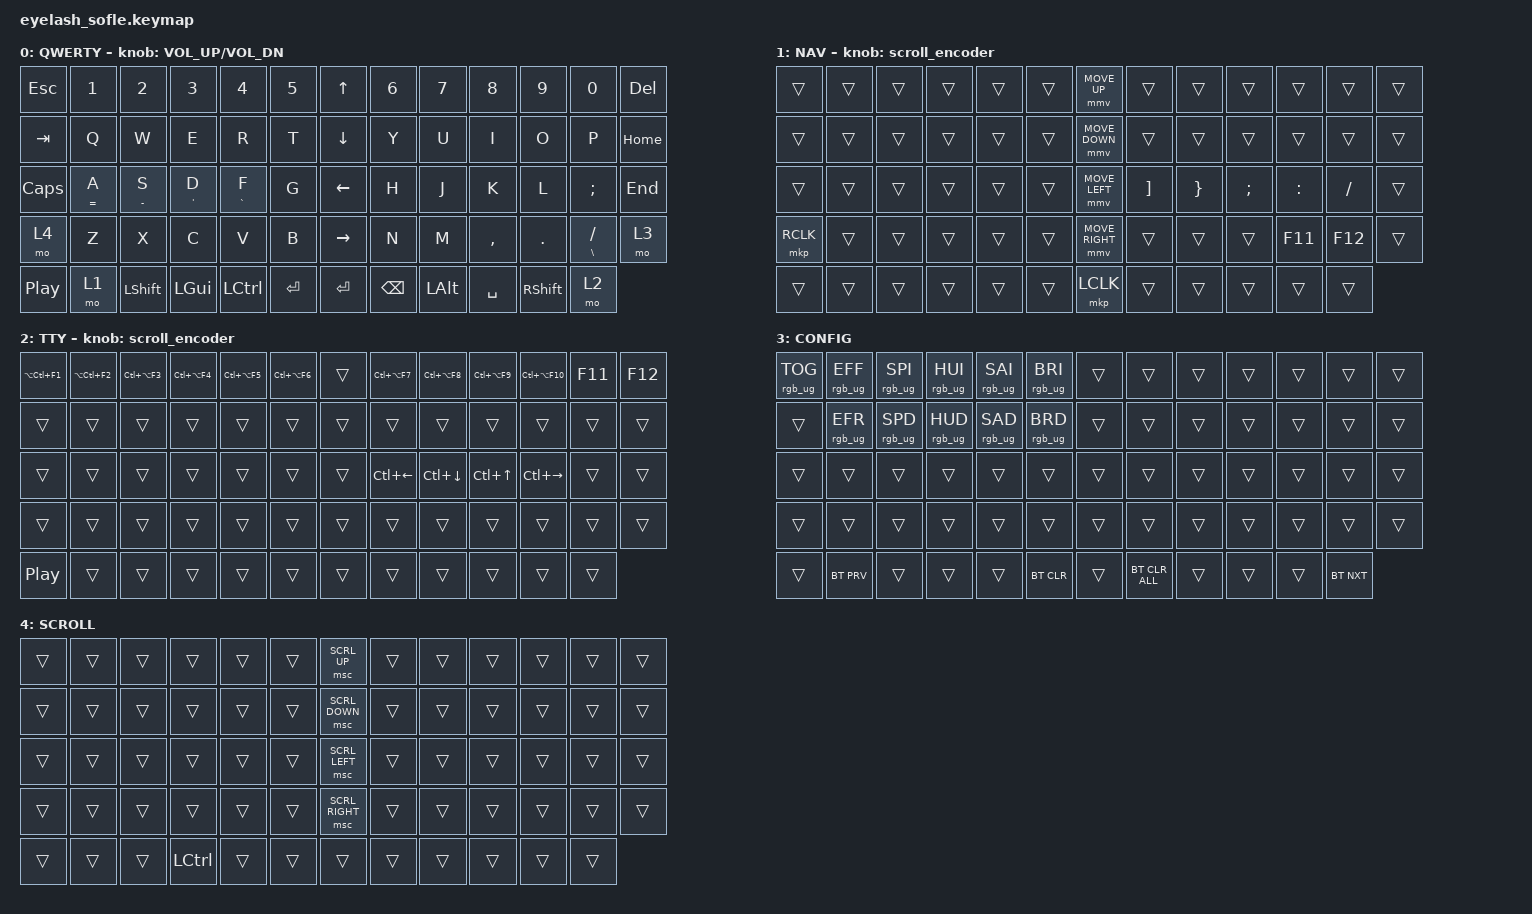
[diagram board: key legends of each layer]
#define ZMK_POINTING_DEFAULT_MOVE_VAL 1200  // 600
#define ZMK_POINTING_DEFAULT_SCRL_VAL 25   // 10

#include <input/processors.dtsi>
#include <zephyr/dt-bindings/input/input-event-codes.h>
#include <behaviors.dtsi>
#include <dt-bindings/zmk/bt.h>
#include <dt-bindings/zmk/keys.h>
#include <dt-bindings/zmk/pointing.h>
#include <dt-bindings/zmk/rgb.h>

&mmv_input_listener { input-processors = <&zip_xy_scaler 2 1>; };

&msc_input_listener { input-processors = <&zip_scroll_scaler 2 1>; };

&msc {
    acceleration-exponent = <1>;      // 0
    time-to-max-speed-ms = <100>;       // 300
    delay-ms = <0>;                   // 0
};

&mmv {
    time-to-max-speed-ms = <500>;
    acceleration-exponent = <1>;
    trigger-period-ms = <16>;
};

/ {
    scroll_encoder: scroll_encoder {
        compatible = "zmk,behavior-sensor-rotate";
        #sensor-binding-cells = <0>;
        bindings = <&msc SCRL_DOWN>, <&msc SCRL_UP>;

        tap-ms = <100>;
    };

    hm: homerow_mods {
        compatible = "zmk,behavior-hold-tap";
        label = "HOMEROW_MODS";
        bindings = <&kp>, <&kp>;

        #binding-cells = <2>;
        tapping-term-ms = <150>;
        quick-tap-ms = <0>;
        flavor = "tap-preferred";
    };

    behaviors {
    };

    combos {
        compatible = "zmk,combos";

        curly_braces {
            bindings = <&kp LBRC>;
            key-positions = <33 54>;
        };

        parenthesis {
            bindings = <&kp LEFT_PARENTHESIS>;
            key-positions = <34 54>;
        };

        brackets {
            bindings = <&kp LEFT_BRACKET>;
            key-positions = <35 54>;
        };
    };

    keymap {
        compatible = "zmk,keymap";

        qwerty {
            bindings = <
&kp ESC           &kp N1       &kp N2          &kp N3        &kp N4            &kp N5       &kp UP_ARROW     &kp N6         &kp N7        &kp N8     &kp N9           &kp N0              &kp DELETE
&kp TAB           &kp Q        &kp W           &kp E         &kp R             &kp T        &kp DOWN_ARROW   &kp Y          &kp U         &kp I      &kp O            &kp P               &kp HOME
&kp CAPS          &hm EQUAL A  &hm MINUS S     &hm APOS D    &hm GRAVE F       &kp G        &kp LEFT_ARROW   &kp H          &kp J         &kp K      &kp L            &kp SEMI            &kp END
&mo 4             &kp Z        &kp X           &kp C         &kp V             &kp B        &kp RIGHT_ARROW  &kp N          &kp M         &kp COMMA  &kp DOT          &mt BACKSLASH FSLH  &mo 3
&kp C_PLAY_PAUSE  &mo 1        &kp LEFT_SHIFT  &kp LEFT_GUI  &kp LEFT_CONTROL  &kp ENTER    &kp ENTER        &kp BACKSPACE  &kp LEFT_ALT  &kp SPACE  &kp RIGHT_SHIFT  &mo 2
            >;

            sensor-bindings = <&inc_dec_kp C_VOLUME_UP C_VOL_DN>;
            display-name = "QWERTY";
        };

        nav {
            bindings = <
&trans     &trans  &trans  &trans  &trans  &trans    &mmv MOVE_UP     &trans    &trans    &trans         &trans     &trans    &trans
&trans     &trans  &trans  &trans  &trans  &trans    &mmv MOVE_DOWN   &trans    &trans    &trans         &trans     &trans    &trans
&trans     &trans  &trans  &trans  &trans  &trans    &mmv MOVE_LEFT   &kp RBKT  &kp RBRC  &kp SEMICOLON  &kp COLON  &kp FSLH  &trans
&mkp RCLK  &trans  &trans  &trans  &trans  &trans    &mmv MOVE_RIGHT  &trans    &trans    &trans         &kp F11    &kp F12   &trans
&trans     &trans  &trans  &trans  &trans  &trans    &mkp LCLK        &trans    &trans    &trans         &trans     &trans
            >;

            sensor-bindings = <&scroll_encoder>;
            label = "NAV";
        };

        tty {
            bindings = <
&kp LA(LC(F1))    &kp LA(LC(F2))  &kp LC(LA(F3))  &kp LC(LA(F4))  &kp LC(LA(F5))  &kp LC(LA(F6))    &trans  &kp LC(LA(F7))  &kp LC(LA(F8))  &kp LC(LA(F9))    &kp LC(LA(F10))  &kp F11  &kp F12
&trans            &trans          &trans          &trans          &trans          &trans            &trans  &trans          &trans          &trans            &trans           &trans   &trans
&trans            &trans          &trans          &trans          &trans          &trans            &trans  &kp LC(LEFT)    &kp LC(DOWN)    &kp LC(UP_ARROW)  &kp LC(RIGHT)    &trans   &trans
&trans            &trans          &trans          &trans          &trans          &trans            &trans  &trans          &trans          &trans            &trans           &trans   &trans
&kp C_PLAY_PAUSE  &trans          &trans          &trans          &trans          &trans            &trans  &trans          &trans          &trans            &trans           &trans
            >;

            display-name = "TTY";
            sensor-bindings = <&scroll_encoder>;
        };

        config {
            bindings = <
&rgb_ug RGB_TOG  &rgb_ug RGB_EFF  &rgb_ug RGB_SPI  &rgb_ug RGB_HUI  &rgb_ug RGB_SAI  &rgb_ug RGB_BRI    &trans  &trans          &trans  &trans  &trans  &trans      &trans
&trans           &rgb_ug RGB_EFR  &rgb_ug RGB_SPD  &rgb_ug RGB_HUD  &rgb_ug RGB_SAD  &rgb_ug RGB_BRD    &trans  &trans          &trans  &trans  &trans  &trans      &trans
&trans           &trans           &trans           &trans           &trans           &trans             &trans  &trans          &trans  &trans  &trans  &trans      &trans
&trans           &trans           &trans           &trans           &trans           &trans             &trans  &trans          &trans  &trans  &trans  &trans      &trans
&trans           &bt BT_PRV       &trans           &trans           &trans           &bt BT_CLR         &trans  &bt BT_CLR_ALL  &trans  &trans  &trans  &bt BT_NXT
            >;

            label = "CONFIG";
        };

        scroll {
            bindings = <
&trans  &trans  &trans  &trans            &trans  &trans    &msc SCRL_UP     &trans  &trans  &trans  &trans  &trans  &trans
&trans  &trans  &trans  &trans            &trans  &trans    &msc SCRL_DOWN   &trans  &trans  &trans  &trans  &trans  &trans
&trans  &trans  &trans  &trans            &trans  &trans    &msc SCRL_LEFT   &trans  &trans  &trans  &trans  &trans  &trans
&trans  &trans  &trans  &trans            &trans  &trans    &msc SCRL_RIGHT  &trans  &trans  &trans  &trans  &trans  &trans
&trans  &trans  &trans  &kp LEFT_CONTROL  &trans  &trans    &trans           &trans  &trans  &trans  &trans  &trans
            >;

            label = "SCROLL";
        };
    };
};
